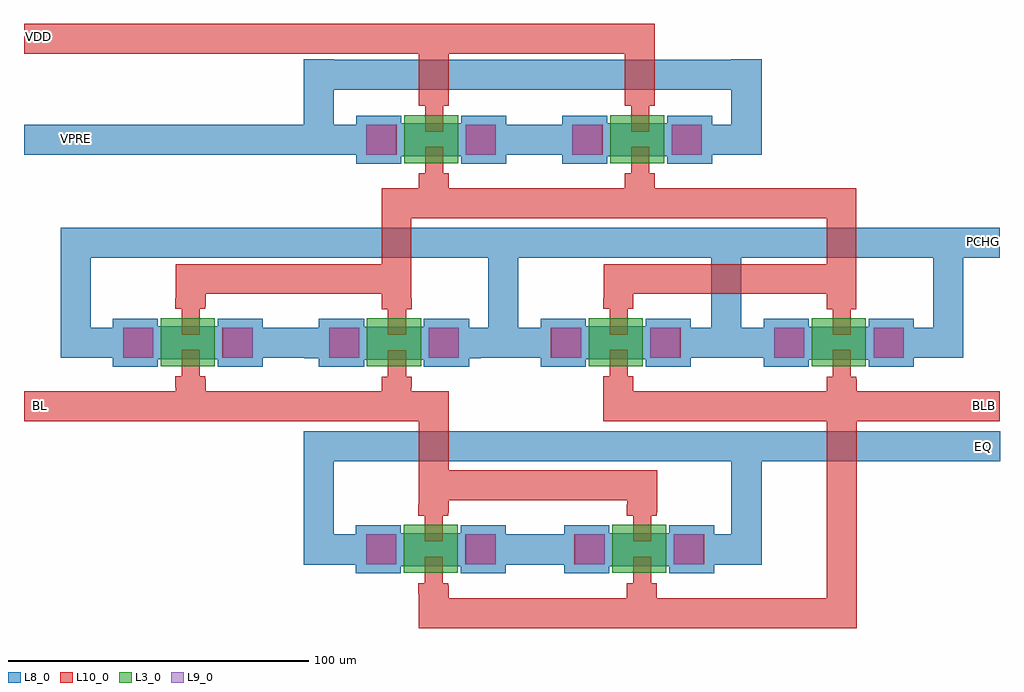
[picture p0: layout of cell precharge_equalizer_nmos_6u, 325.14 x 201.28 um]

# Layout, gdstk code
from math import pi, radians
import gdstk
lib = gdstk.Library(unit=1e-6, precision=5e-10)
def R(c, l, rs):  # rectangles x0, y0, x1, y1
    for r in rs: c.add(gdstk.rectangle(r[:2], r[2:], *l))
def P(c, l, *ps):  # polygons
    for p in ps: c.add(gdstk.Polygon(p, *l))
L3_0 = (3, 0)
L8_0 = (8, 0)
L9_0 = (9, 0)
L10_0 = (10, 0)

m2_m1_cdns_783101036370 = lib.new_cell('M2_M1_CDNS_783101036370')
R(m2_m1_cdns_783101036370, L8_0, [(-5,-5.035,5,5.035)])
R(m2_m1_cdns_783101036370, L9_0, [(-5,-5,5,5)])
R(m2_m1_cdns_783101036370, L10_0, [(-5,-5.035,5,5.035)])

nfet_w6u_l5 = lib.new_cell('nfet_W6u_L5')
R(nfet_w6u_l5, L3_0, [(7.242,20.233,23.242,38.258)])
R(nfet_w6u_l5, L8_0, [(10.03,0.31,20.082,6.16), (13.785,0.4425,16.285,2.9425), (10.03,53.308,20.082,59.157), (13.6925,56.505,16.1925,59.005)])
P(nfet_w6u_l5, L8_0, [(7.092,4.248),(7.092,19.275),(9.5,19.275),(9.5,39.218),(7.092,39.218),(7.092,54.245),(23.093,54.245),(23.093,39.218),(20.5,39.218),(20.5,19.275),(23.093,19.275),(23.093,4.248)])
R(nfet_w6u_l5, L10_0, [(0.28,23.387,3.85,33.373), (26.327,23.387,29.897,33.373), (2.698,25.235,12.697,31.235), (17.722,25.235,27.722,31.235), (0.4175,27.32,2.9175,29.82), (27.285,27.3325,29.785,29.8325)])
nfet_w6u_l5.add(gdstk.Reference(m2_m1_cdns_783101036370, (15.12,12.68)))
nfet_w6u_l5.add(gdstk.Reference(m2_m1_cdns_783101036370, (15.12,45.795)))

precharge_equalizer_nmos = lib.new_cell('precharge_equalizer_nmos_6u')
R(precharge_equalizer_nmos, L8_0, [(73.095,338.8125,83.1325,383.2925), (215.5825,338.8125,225.62,383.2925), (73.1025,338.8475,88.2825,348.885), (141.7,338.8475,157.6125,348.885), (210.4225,338.8475,225.6025,348.885), (73.1025,373.245,305.0625,383.2825), (292.6175,376.945,295.1175,379.445), (-7.8175,407.6725,2.22,451.0125), (134.5225,407.6725,144.56,451.0125), (208.82,407.6725,218.8575,451.0125), (282.77,407.6725,292.8075,451.0125), (-7.86,407.6775,7.2425,417.715), (60.8325,407.6775,75.935,417.715), (129.4775,407.6775,149.785,417.715), (203.3375,407.6775,223.645,417.715), (277.7225,407.6775,292.825,417.715), (-7.8175,440.9775,304.9475,451.015), (292.7625,445.01,295.2625,447.51), (73.095,475.2825,83.1325,507.105), (215.5825,475.2825,225.62,507.105), (-20.075,475.3175,88.2825,485.355), (141.785,475.3175,156.965,485.355), (210.4225,475.3175,225.6025,485.355), (-9.45,479.395,-6.95,481.895), (73.1025,497.035,225.39,507.0725)])
R(precharge_equalizer_nmos, L10_0, [(111.35,317.6625,257.19,327.6325), (180.7675,317.6625,190.7375,331.59), (247.31,317.6625,257.28,400.565), (111.37,317.6875,121.34,331.72), (111.455,356.1325,121.425,396.5), (180.8525,356.2625,190.8225,370.19), (111.435,360.22,190.8,370.19), (-20.0375,386.5275,121.4225,396.5), (99.0375,386.5275,109.0075,400.565), (172.9225,386.5275,305.0525,396.5), (30.425,386.5325,40.395,400.565), (172.9225,386.5325,182.8925,400.565), (-9.4725,390.46,-6.9725,392.96), (292.765,390.7725,295.265,393.2725), (30.425,424.905,40.395,438.9375), (99.0375,424.905,109.0075,464.0425), (172.995,424.905,182.965,438.9375), (247.2825,424.905,257.2525,464.0425), (30.425,428.97,109.0075,438.9425), (172.995,428.97,257.2525,438.9425), (99.0325,454.1475,257.2375,464.12), (180.0425,454.1475,190.0125,468.185), (111.43,454.1525,121.4,468.185), (111.43,492.5675,121.4,518.9025), (180.0425,492.5675,190.0125,518.94), (-19.9775,508.9775,190.01,518.9475), (-9.41,513.1025,-6.91,515.6025)])
precharge_equalizer_nmos.add(gdstk.Reference(nfet_w6u_l5, (214.1125,328.81), rotation=pi/2))
precharge_equalizer_nmos.add(gdstk.Reference(nfet_w6u_l5, (144.7075,328.8025), rotation=pi/2))
precharge_equalizer_nmos.add(gdstk.Reference(nfet_w6u_l5, (206.2825,397.6625), rotation=pi/2))
precharge_equalizer_nmos.add(gdstk.Reference(nfet_w6u_l5, (280.6425,397.615), rotation=pi/2))
precharge_equalizer_nmos.add(gdstk.Reference(nfet_w6u_l5, (132.42,397.6125), rotation=pi/2))
precharge_equalizer_nmos.add(gdstk.Reference(nfet_w6u_l5, (63.7625,397.655), rotation=pi/2))
precharge_equalizer_nmos.add(gdstk.Reference(nfet_w6u_l5, (213.42,465.2825), rotation=pi/2))
precharge_equalizer_nmos.add(gdstk.Reference(nfet_w6u_l5, (144.7875,465.2775), rotation=pi/2))
precharge_equalizer_nmos.add(gdstk.Label('VPRE', (-2.547,480.651), layer=8, texttype=0))
precharge_equalizer_nmos.add(gdstk.Label('PCHG', (299.46,446.299), layer=8, texttype=0))
precharge_equalizer_nmos.add(gdstk.Label('EQ', (299.691,378.248), layer=8, texttype=0))
precharge_equalizer_nmos.add(gdstk.Label('VDD', (-15.216,514.684), layer=10, texttype=0))
precharge_equalizer_nmos.add(gdstk.Label('BL', (-14.465,391.897), layer=10, texttype=0))
precharge_equalizer_nmos.add(gdstk.Label('BLB', (299.939,391.855), layer=10, texttype=0))

lib.write_gds('precharge_equalizer_nmos_6u.gds')
